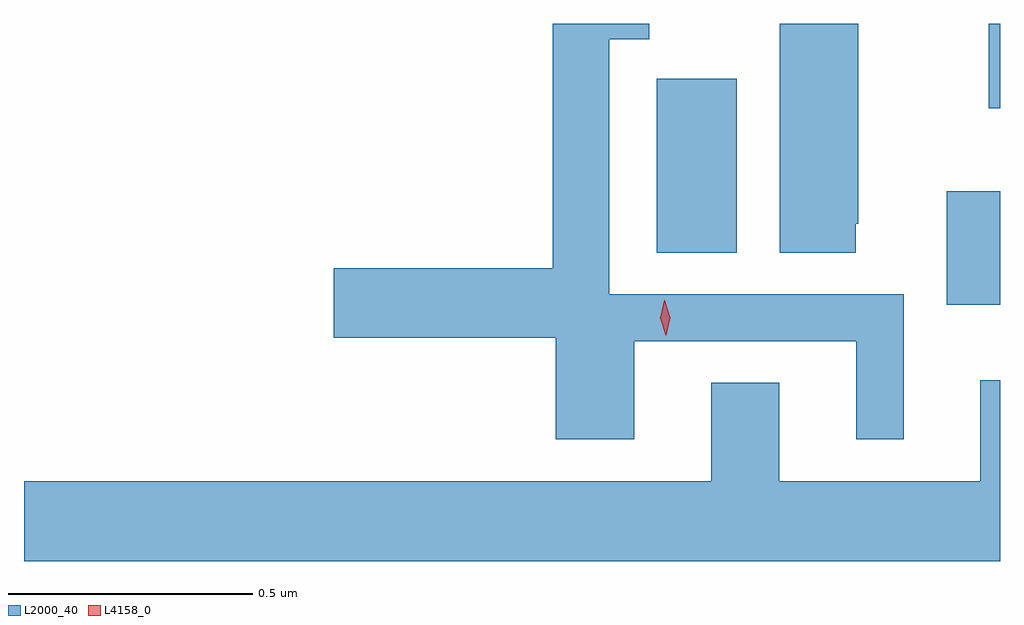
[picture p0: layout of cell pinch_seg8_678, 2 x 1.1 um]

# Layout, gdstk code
import gdstk
lib = gdstk.Library(unit=1e-6, precision=1e-09)
def R(c, l, rs):  # rectangles x0, y0, x1, y1
    for r in rs: c.add(gdstk.rectangle(r[:2], r[2:], *l))
def P(c, l, *ps):  # polygons
    for p in ps: c.add(gdstk.Polygon(p, *l))
L2000_40 = (2000, 40)
L4158_0 = (4158, 0)

pinch_seg8_678 = lib.new_cell('pinch_seg8_678')
R(pinch_seg8_678, L2000_40, [(328.43,1083.725,328.539,1083.958), (327.836,1083.832,328,1084.189), (328.516,1084.128,328.539,1084.301)])
P(pinch_seg8_678, L2000_40, [(328.243,1083.891),(328.249,1083.891),(328.249,1084.301),(328.088,1084.301),(328.088,1083.832),(328.243,1083.832)],
  [(327.79,1083.651),(328.244,1083.651),(328.244,1083.45),(328.342,1083.45),(328.342,1083.747),(327.738,1083.747),(327.738,1084.269),(327.82,1084.269),(327.82,1084.301),(327.622,1084.301),(327.622,1083.8),(327.174,1083.8),(327.174,1083.658),(327.629,1083.658),(327.629,1083.45),(327.79,1083.45)],
  [(328.539,1083.571),(328.499,1083.571),(328.499,1083.364),(328.087,1083.364),(328.087,1083.566),(327.947,1083.566),(327.947,1083.364),(326.539,1083.364),(326.539,1083.2),(328.539,1083.2)])
P(pinch_seg8_678, L4158_0, [(327.854,1083.663),(327.843,1083.698),(327.851,1083.735),(327.852,1083.735),(327.852,1083.735),(327.863,1083.699),(327.855,1083.663),(327.855,1083.663)])

lib.write_gds('pinch_seg8_678.gds')
